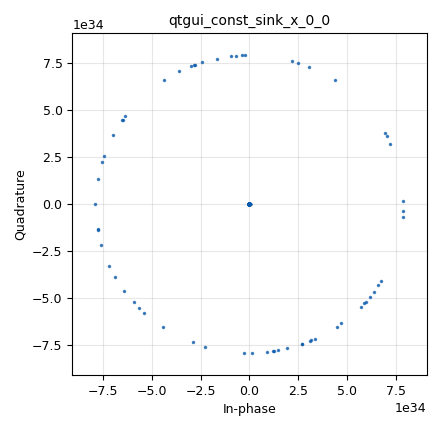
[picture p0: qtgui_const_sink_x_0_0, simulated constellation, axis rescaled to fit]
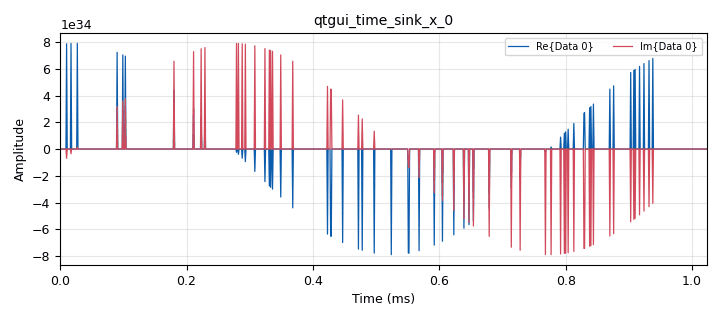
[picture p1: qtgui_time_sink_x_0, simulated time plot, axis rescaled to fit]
options:
  parameters:
    author: telkom
    generate_options: qt_gui
    id: psk2
    output_language: python
    title: PSK
  states: {}

blocks:
- name: bpsk
  id: variable
  parameters:
    value: '[-1+0j,1+0j]'
  states: {}
- name: constellation
  id: variable_qtgui_chooser
  parameters:
    label0: bpsk
    label1: qpsk
    label2: qam16
    num_opts: '3'
    option0: '-1, 1'
    option1: '[-1-1j,+1-1j,1+1j,-1+1j]'
    option2: qam16
    type: raw
    value: '-1, 1'
  states: {}
- name: fco
  id: variable_qtgui_range
  parameters:
    start: '0'
    step: '10'
    stop: '100000'
    value: '0'
  states: {}
- name: mod_order
  id: variable
  parameters:
    value: '4'
  states: {}
- name: noise
  id: variable_qtgui_range
  parameters:
    start: '0'
    step: '0.01'
    stop: '1'
    value: '0'
  states: {}
- name: qam16
  id: variable
  parameters:
    value: '[-1-1j, 1-1j, 1+1j, -1+1j, 1+3j, 3+1j, 3+3j, -1+3j, -3+1j, -3+3j, 3+3j, -1+3j, -3+3j, 3-1j, 1-3j, 3-3j, -3-1j, -1-3j, -3-3j]'
  states: {}
- name: qpsk
  id: variable
  parameters:
    value: '[-1-1j,+1-1j,1+1j,-1+1j]'
  states: {}
- name: samp_rate
  id: variable
  parameters:
    value: '1000000'
  states: {}
- name: analog_noise_source_x_0
  id: analog_noise_source_x
  parameters:
    amp: '0'
    noise_type: analog.GR_GAUSSIAN
    seed: '0'
    type: complex
  states: {}
- name: analog_random_source_x_0
  id: analog_random_source_x
  parameters:
    max: '255'
    min: '0'
    num_samps: '1024'
    repeat: 'True'
    type: byte
  states: {}
- name: analog_sig_source_x_0
  id: analog_sig_source_x
  parameters:
    amp: '1'
    freq: '1000'
    offset: '0'
    phase: '0'
    samp_rate: samp_rate
    type: complex
    waveform: analog.GR_COS_WAVE
  states: {}
- name: blocks_add_xx_0
  id: blocks_add_xx
  parameters:
    type: complex
  states: {}
- name: blocks_multiply_xx_0
  id: blocks_multiply_xx
  parameters:
    type: complex
  states: {}
- name: blocks_packed_to_unpacked_xx_0
  id: blocks_packed_to_unpacked_xx
  parameters:
    bits_per_chunk: '4'
    endianness: gr.GR_MSB_FIRST
    type: byte
  states: {}
- name: blocks_throttle2_0
  id: blocks_throttle2
  parameters:
    samples_per_second: samp_rate
    type: complex
  states: {}
- name: digital_chunks_to_symbols_xx_0
  id: digital_chunks_to_symbols_xx
  parameters:
    dimension: '1'
    in_type: byte
    out_type: complex
    symbol_table: constellation
  states: {}
- name: import_0
  id: import
  parameters:
    imports: import math
  states: {}
- name: qtgui_const_sink_x_0_0
  id: qtgui_const_sink_x
  parameters:
    size: '1024'
    type: complex
  states: {}
- name: qtgui_time_sink_x_0
  id: qtgui_time_sink_x
  parameters:
    size: '1024'
    srate: samp_rate
    type: complex
  states: {}

connections:
- [analog_noise_source_x_0, '0', blocks_add_xx_0, '1']
- [analog_random_source_x_0, '0', blocks_packed_to_unpacked_xx_0, '0']
- [analog_sig_source_x_0, '0', blocks_multiply_xx_0, '1']
- [blocks_add_xx_0, '0', blocks_multiply_xx_0, '0']
- [blocks_multiply_xx_0, '0', blocks_throttle2_0, '0']
- [blocks_packed_to_unpacked_xx_0, '0', digital_chunks_to_symbols_xx_0, '0']
- [blocks_throttle2_0, '0', qtgui_const_sink_x_0_0, '0']
- [blocks_throttle2_0, '0', qtgui_time_sink_x_0, '0']
- [digital_chunks_to_symbols_xx_0, '0', blocks_add_xx_0, '0']

metadata:
  file_format: 1
  grc_version: 3.10.12.0
